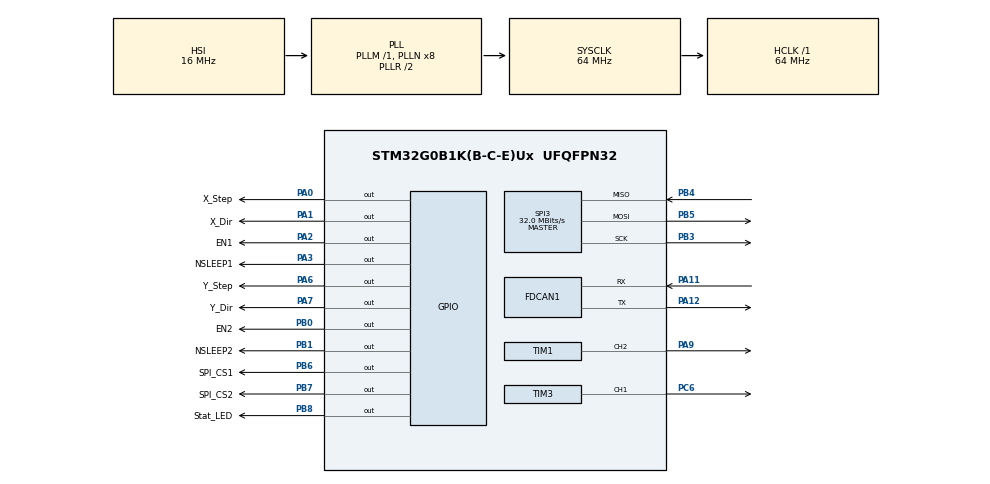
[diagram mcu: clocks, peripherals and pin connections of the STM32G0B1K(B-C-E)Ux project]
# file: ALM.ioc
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FDCAN1.AutoRetransmission=ENABLE
FDCAN1.CalculateBaudRateNominal=500000
FDCAN1.CalculateTimeBitNominal=2000
FDCAN1.CalculateTimeQuantumNominal=62.5
FDCAN1.DataPrescaler=2
FDCAN1.DataSyncJumpWidth=3
FDCAN1.DataTimeSeg1=12
FDCAN1.DataTimeSeg2=3
FDCAN1.FrameFormat=FDCAN_FRAME_FD_BRS
FDCAN1.Mode=FDCAN_MODE_NORMAL
FDCAN1.NominalPrescaler=4
FDCAN1.NominalSyncJumpWidth=4
FDCAN1.NominalTimeSeg1=25
FDCAN1.NominalTimeSeg2=6
FDCAN1.ProtocolException=DISABLE
FDCAN1.StdFiltersNbr=0
FDCAN1.TransmitPause=DISABLE
Mcu.Family=STM32G0
Mcu.Name=STM32G0B1K(B-C-E)Ux
Mcu.Package=UFQFPN32
NVIC.TIM2_IRQn=true\:0\:0\:false\:false\:true\:true\:true\:true
PA0.GPIO_Label=X_Step
PA0.Signal=GPIO_Output
PA1.GPIO_Label=X_Dir
PA1.Signal=GPIO_Output
PA11\ [PA9].GPIO_Speed=GPIO_SPEED_FREQ_VERY_HIGH
PA11\ [PA9].Mode=FDCAN_Activate
PA11\ [PA9].Signal=FDCAN1_RX
PA12\ [PA10].GPIO_Speed=GPIO_SPEED_FREQ_VERY_HIGH
PA12\ [PA10].Mode=FDCAN_Activate
PA12\ [PA10].Signal=FDCAN1_TX
PA13.Mode=Serial_Wire
PA13.Signal=SYS_SWDIO
PA14-BOOT0.Mode=Serial_Wire
PA14-BOOT0.Signal=SYS_SWCLK
PA2.GPIO_Label=EN1
PA2.Signal=GPIO_Output
PA3.GPIO_Label=NSLEEP1
PA3.Signal=GPIO_Output
PA6.GPIO_Label=Y_Step
PA6.Signal=GPIO_Output
PA7.GPIO_Label=Y_Dir
PA7.Signal=GPIO_Output
PA9.Signal=S_TIM1_CH2
PB0.GPIO_Label=EN2
PB0.Signal=GPIO_Output
PB1.GPIO_Label=NSLEEP2
PB1.Signal=GPIO_Output
PB3.Mode=Full_Duplex_Master
PB3.Signal=SPI3_SCK
PB4.Mode=Full_Duplex_Master
PB4.Signal=SPI3_MISO
PB5.Mode=Full_Duplex_Master
PB5.Signal=SPI3_MOSI
PB6.GPIO_Label=SPI_CS1
PB6.Signal=GPIO_Output
PB7.GPIO_Label=SPI_CS2
PB7.Signal=GPIO_Output
PB8.GPIO_Label=Stat_LED
PB8.Signal=GPIO_Output
PC6.Signal=S_TIM3_CH1
ProjectManager.HeapSize=0x200
ProjectManager.StackSize=0x400
ProjectManager.TargetToolchain=MDK-ARM V5.32
RCC.ADCFreq_Value=64000000
RCC.AHBFreq_Value=64000000
RCC.CortexFreq_Value=64000000
RCC.EXTERNAL_CLOCK_VALUE=48000
RCC.HCLKFreq_Value=64000000
RCC.HSE_VALUE=8000000
RCC.HSI48_VALUE=48000000
RCC.HSI_VALUE=16000000
RCC.LSE_VALUE=32768
RCC.SYSCLKFreq_VALUE=64000000
RCC.SYSCLKSource=RCC_SYSCLKSOURCE_PLLCLK
RCC.USBFreq_Value=48000000
RCC.VCOOutputFreq_Value=128000000
SH.S_TIM1_CH2.0=TIM1_CH2,PWM Generation2 CH2
SH.S_TIM3_CH1.0=TIM3_CH1,PWM Generation1 CH1
SPI3.CalculateBaudRate=32.0 MBits/s
SPI3.Direction=SPI_DIRECTION_2LINES
SPI3.Mode=SPI_MODE_MASTER
SPI3.VirtualType=VM_MASTER
TIM1.AutoReloadPreload=TIM_AUTORELOAD_PRELOAD_ENABLE
TIM1.Channel-PWM\ Generation2\ CH2=TIM_CHANNEL_2
TIM1.Period=100
TIM1.Prescaler=15
TIM2.AutoReloadPreload=TIM_AUTORELOAD_PRELOAD_ENABLE
TIM2.Period=4999
TIM2.Prescaler=63
TIM3.AutoReloadPreload=TIM_AUTORELOAD_PRELOAD_ENABLE
TIM3.Channel-PWM\ Generation1\ CH1=TIM_CHANNEL_1
TIM3.Period=100
TIM3.Prescaler=15
VP_SYS_VS_DBSignals.Mode=DisableDeadBatterySignals
VP_TIM2_VS_ClockSourceINT.Mode=Internal
board=custom

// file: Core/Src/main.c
/* USER CODE BEGIN Header */
/**
  ******************************************************************************
  * @file           : main.c
  * @brief          : Main program body
  ******************************************************************************
  * @attention
  *
  * Copyright (c) 2025 STMicroelectronics.
  * All rights reserved.
  *
  * This software is licensed under terms that can be found in the LICENSE file
  * in the root directory of this software component.
  * If no LICENSE file comes with this software, it is provided AS-IS.
  *
  ******************************************************************************
  */
/* USER CODE END Header */
#include "main.h"
#include "fdcan.h"
#include "spi.h"
#include "tim.h"
#include "gpio.h"

/* USER CODE BEGIN Includes */
#include "Motor.h"
#include "Systick_Task.h"
#include "CAN_Comm.h"
#include "LED.h"
#include "CAN_Motor.h"
#include "adjuster_motor_task.h"
#include "adjuster_CAN_Poll.h"
#include "adjuster_can_report.h"
#include "adjuster_can.h"
#include "adjuster_flash.h"

#include "adjuster_check.h"
#include "adjuster_update_task.h"
#include "adjuster_process_task.h"
#include "adjuster_idle_task.h"
#include "motor_upgrade.h"
#include "motor_partition.h"
/* USER CODE END Includes */

/* USER CODE BEGIN PTD */

/* 接收仲裁�?*/

/* USER CODE END PTD */

/* USER CODE BEGIN PV */
uint32_t TSB;
volatile uint32_t g_motor_runtime_ms_dbg = 0u;

void Check_TxFIFO_LED(void)
{
	if(LED_OFF_Count>500)
	{
		LED_Ctrl(0);
	}
}

/* USER CODE END PV */

void SystemClock_Config(void);

int main(void)
{

  /* USER CODE BEGIN 1 */
	TSB = 0;

  /* App lives at MOT_APP_BASE (after the Bootloader). Point VTOR here
     BEFORE HAL_Init() — HAL enables SysTick during init, and the handler
     must dispatch through the app's table. */
  SCB->VTOR = MOT_APP_BASE;
  /* USER CODE END 1 */

  /* MCU Configuration--------------------------------------------------------*/

  /* Reset of all peripherals, Initializes the Flash interface and the Systick. */
  HAL_Init();

  /* Configure the system clock */
  SystemClock_Config();

  /* Initialize all configured peripherals */
  MX_GPIO_Init();
  /* Stat_LED starts OFF (MX_GPIO_Init drives PB8 to RESET). The CAN-RX
     ACT-light state machine in process() takes over from here — driving
     a boot-time LED_ON would pin the LED solid until the first RX cycle
     turned it off, defeating the "OFF when idle" semantics. */
  MX_FDCAN1_Init();
  MX_SPI3_Init();
  MX_TIM2_Init();
  MX_TIM1_Init();
  MX_TIM3_Init();
  /* USER CODE BEGIN 2 */

	//FLASH Init
	Adjuster_Flash_Init(&g_adj_params);

	/*
	Change param
	g_adj_params.x_step_freq_hz = 300;
	Adjuster_Flash_Write(&g_adj_params);
	*/

	Motor_Init();

	CAN_Init();

	Upgrade_Init();

	/* USER CODE END 2 */

  /* Infinite loop */
  /* USER CODE BEGIN WHILE */
  while (1)
  {
		//check �?update �?process �?idle

		uint32_t now = HAL_GetTick();

		check_data(now);

		update_data(now);

		process(now);

		Motor_Task();            // 执行 / 状态机
    //Motor_HoldService();     // 空闲 250 ms 后降�?

    Status_Report_Task();    // 心跳 + 状态上�?
    g_motor_runtime_ms_dbg = Motor_GetLastRuntimeMs();
		//CAN_TxService();         // 可选：TX FIFO / LED

		/* Deferred flash write (must NOT run in SysTick) */
		Adjuster_FlashDeferred_Task();

		Upgrade_PollReboot();
		Upgrade_LedBlinkPoll();

		idle_task(now);

    /* USER CODE END WHILE */

  }
}

void SystemClock_Config(void)
{
  RCC_OscInitTypeDef RCC_OscInitStruct = {0};
  RCC_ClkInitTypeDef RCC_ClkInitStruct = {0};

  /** Configure the main internal regulator output voltage
  */
  HAL_PWREx_ControlVoltageScaling(PWR_REGULATOR_VOLTAGE_SCALE1);

  /** Initializes the RCC Oscillators according to the specified parameters
  * in the RCC_OscInitTypeDef structure.
  */
  RCC_OscInitStruct.OscillatorType = RCC_OSCILLATORTYPE_HSI;
  RCC_OscInitStruct.HSIState = RCC_HSI_ON;
  RCC_OscInitStruct.HSIDiv = RCC_HSI_DIV1;
  RCC_OscInitStruct.HSICalibrationValue = RCC_HSICALIBRATION_DEFAULT;
  RCC_OscInitStruct.PLL.PLLState = RCC_PLL_ON;
  RCC_OscInitStruct.PLL.PLLSource = RCC_PLLSOURCE_HSI;
  RCC_OscInitStruct.PLL.PLLM = RCC_PLLM_DIV1;
  RCC_OscInitStruct.PLL.PLLN = 8;
  RCC_OscInitStruct.PLL.PLLP = RCC_PLLP_DIV2;
  RCC_OscInitStruct.PLL.PLLQ = RCC_PLLQ_DIV2;
  RCC_OscInitStruct.PLL.PLLR = RCC_PLLR_DIV2;
  if (HAL_RCC_OscConfig(&RCC_OscInitStruct) != HAL_OK)
  {
    Error_Handler();
  }

  /** Initializes the CPU, AHB and APB buses clocks
  */
  RCC_ClkInitStruct.ClockType = RCC_CLOCKTYPE_HCLK|RCC_CLOCKTYPE_SYSCLK
                              |RCC_CLOCKTYPE_PCLK1;
  RCC_ClkInitStruct.SYSCLKSource = RCC_SYSCLKSOURCE_PLLCLK;
  RCC_ClkInitStruct.AHBCLKDivider = RCC_SYSCLK_DIV1;
  RCC_ClkInitStruct.APB1CLKDivider = RCC_HCLK_DIV1;

  if (HAL_RCC_ClockConfig(&RCC_ClkInitStruct, FLASH_LATENCY_2) != HAL_OK)
  {
    Error_Handler();
  }
}

void Error_Handler(void)
{
  __disable_irq();
  while (1)
  {
  }
}
